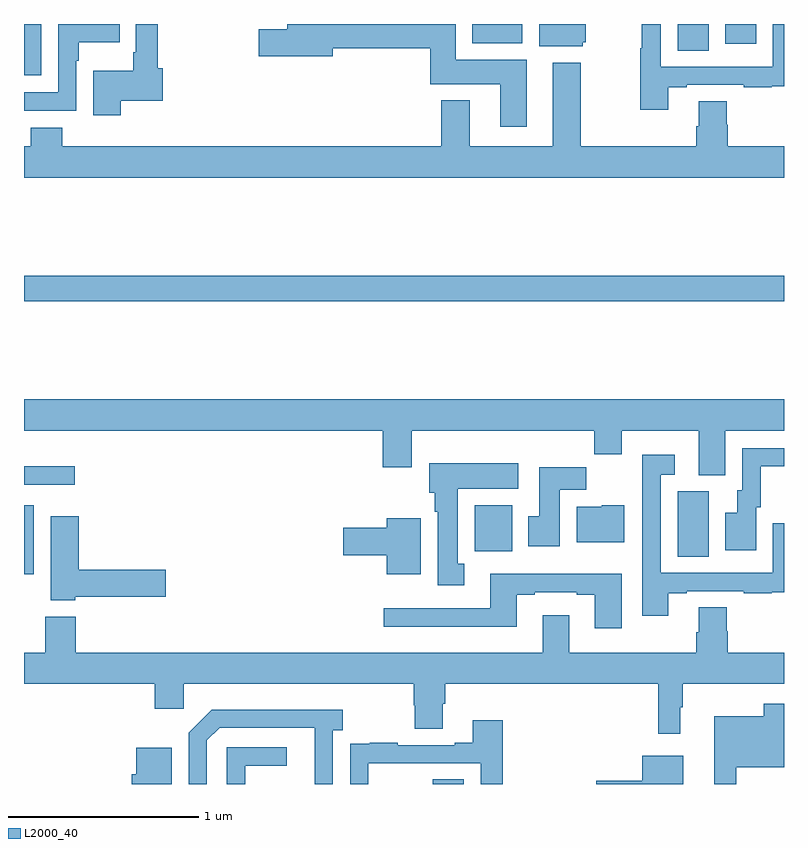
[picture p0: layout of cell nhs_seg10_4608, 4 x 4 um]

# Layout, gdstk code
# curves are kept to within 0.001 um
import gdstk
lib = gdstk.Library(unit=1e-6, precision=1e-09)
def R(c, l, rs):  # rectangles x0, y0, x1, y1
    for r in rs: c.add(gdstk.rectangle(r[:2], r[2:], *l))
def P(c, l, *ps):  # polygons
    for p in ps: c.add(gdstk.Polygon(p, *l))
L2000_40 = (2000, 40)

nhs_seg10_4608 = lib.new_cell('nhs_seg10_4608')
R(nhs_seg10_4608, L2000_40, [(377.15,1254.5,377.314,1254.524), (375,1255.604,375.052,1255.966), (378.44,1255.696,378.604,1256.04), (377.372,1255.724,377.569,1255.966), (375,1256.076,375.268,1256.172), (375,1257.04,379,1257.176), (375,1258.229,375.091,1258.5), (378.44,1258.36,378.604,1258.5), (378.692,1258.395,378.853,1258.5), (377.36,1258.4,377.623,1258.5)])
P(nhs_seg10_4608, L2000_40, [(375.509,1258.097),(375.731,1258.097),(375.731,1258.268),(375.704,1258.268),(375.704,1258.5),(375.588,1258.5),(375.588,1258.351),(375.576,1258.351),(375.576,1258.255),(375.365,1258.255),(375.365,1258.02),(375.509,1258.02)],
  [(375.276,1258.307),(375.289,1258.307),(375.289,1258.403),(375.503,1258.403),(375.503,1258.5),(375.18,1258.5),(375.18,1258.14),(375,1258.14),(375,1258.044),(375.276,1258.044)],
  [(377.94,1258.404),(377.956,1258.404),(377.956,1258.5),(377.711,1258.5),(377.711,1258.382),(377.94,1258.382)],
  [(377.647,1258.312),(377.272,1258.312),(377.272,1258.5),(376.385,1258.5),(376.385,1258.472),(376.236,1258.472),(376.236,1258.33),(376.624,1258.33),(376.624,1258.372),(377.138,1258.372),(377.138,1258.184),(377.507,1258.184),(377.507,1257.96),(377.647,1257.96)],
  [(378.391,1258.167),(378.487,1258.167),(378.487,1258.179),(378.787,1258.179),(378.787,1258.167),(378.935,1258.167),(378.935,1258.173),(379,1258.173),(379,1258.5),(378.942,1258.5),(378.942,1258.275),(378.351,1258.275),(378.351,1258.5),(378.25,1258.5),(378.25,1258.372),(378.243,1258.372),(378.243,1258.05),(378.391,1258.05)],
  [(379,1257.856),(378.704,1257.856),(378.704,1257.969),(378.699,1257.969),(378.699,1258.094),(378.551,1258.094),(378.551,1257.962),(378.539,1257.962),(378.539,1257.856),(377.931,1257.856),(377.931,1258.297),(377.783,1258.297),(377.783,1257.856),(377.347,1257.856),(377.347,1258.099),(377.195,1258.099),(377.195,1257.856),(375.2,1257.856),(375.2,1257.955),(375.035,1257.955),(375.035,1257.856),(375,1257.856),(375,1257.692),(379,1257.692)],
  [(378.691,1256.36),(379,1256.36),(379,1256.524),(375,1256.524),(375,1256.36),(376.889,1256.36),(376.889,1256.166),(377.041,1256.166),(377.041,1256.36),(378.001,1256.36),(378.001,1256.236),(378.145,1256.236),(378.145,1256.36),(378.551,1256.36),(378.551,1256.125),(378.691,1256.125)],
  [(378.853,1255.956),(378.877,1255.956),(378.877,1256.172),(379,1256.172),(379,1256.268),(378.78,1256.268),(378.78,1256.046),(378.755,1256.046),(378.755,1255.927),(378.692,1255.927),(378.692,1255.731),(378.853,1255.731)],
  [(378.391,1255.503),(378.487,1255.503),(378.487,1255.515),(378.787,1255.515),(378.787,1255.503),(378.935,1255.503),(378.935,1255.509),(379,1255.509),(379,1255.873),(378.942,1255.873),(378.942,1255.611),(378.351,1255.611),(378.351,1256.127),(378.424,1256.127),(378.424,1256.233),(378.255,1256.233),(378.255,1255.386),(378.391,1255.386)],
  [(377.317,1255.658),(377.284,1255.658),(377.284,1256.054),(377.602,1256.054),(377.602,1256.188),(377.132,1256.188),(377.132,1256.034),(377.162,1256.034),(377.162,1255.934),(377.177,1255.934),(377.177,1255.545),(377.317,1255.545)],
  [(377.821,1256.048),(377.96,1256.048),(377.96,1256.167),(377.711,1256.167),(377.711,1255.908),(377.654,1255.908),(377.654,1255.752),(377.821,1255.752)],
  [(378.16,1255.966),(378.042,1255.966),(378.042,1255.96),(377.909,1255.96),(377.909,1255.772),(378.16,1255.772)],
  [(375.27,1255.486),(375.745,1255.486),(375.745,1255.628),(375.287,1255.628),(375.287,1255.909),(375.14,1255.909),(375.14,1255.466),(375.27,1255.466)],
  [(377.089,1255.9),(376.91,1255.9),(376.91,1255.85),(376.68,1255.85),(376.68,1255.703),(376.91,1255.703),(376.91,1255.604),(377.089,1255.604)],
  [(378.145,1255.606),(377.453,1255.606),(377.453,1255.425),(376.893,1255.425),(376.893,1255.328),(377.593,1255.328),(377.593,1255.497),(377.689,1255.497),(377.689,1255.509),(377.909,1255.509),(377.909,1255.497),(378.005,1255.497),(378.005,1255.32),(378.145,1255.32)],
  [(378.337,1254.765),(378.454,1254.765),(378.454,1254.905),(378.466,1254.905),(378.466,1255.028),(379,1255.028),(379,1255.192),(378.704,1255.192),(378.704,1255.305),(378.699,1255.305),(378.699,1255.43),(378.551,1255.43),(378.551,1255.298),(378.539,1255.298),(378.539,1255.192),(377.869,1255.192),(377.869,1255.387),(377.729,1255.387),(377.729,1255.192),(375.272,1255.192),(375.272,1255.381),(375.112,1255.381),(375.112,1255.192),(375,1255.192),(375,1255.028),(375.689,1255.028),(375.689,1254.897),(375.84,1254.897),(375.84,1255.028),(377.051,1255.028),(377.051,1254.915),(377.056,1254.915),(377.056,1254.79),(377.203,1254.79),(377.203,1254.922),(377.216,1254.922),(377.216,1255.028),(378.337,1255.028)],
  [(378.749,1254.587),(379,1254.587),(379,1254.922),(378.894,1254.922),(378.894,1254.856),(378.632,1254.856),(378.632,1254.5),(378.749,1254.5)],
  [(375.963,1254.729),(376.029,1254.795),(376.529,1254.795),(376.53,1254.5),(376.626,1254.5),(376.626,1254.782),(376.678,1254.782),(376.678,1254.892),(375.988,1254.892),(375.867,1254.771),(375.867,1254.5),(375.963,1254.5)],
  [(376.812,1254.609),(377.403,1254.609),(377.403,1254.5),(377.519,1254.5),(377.519,1254.835),(377.363,1254.835),(377.363,1254.718),(377.267,1254.718),(377.267,1254.705),(376.967,1254.705),(376.967,1254.718),(376.819,1254.718),(376.819,1254.711),(376.717,1254.711),(376.717,1254.602),(376.716,1254.602),(376.716,1254.5),(376.812,1254.5)],
  [(376.164,1254.597),(376.384,1254.597),(376.384,1254.693),(376.068,1254.693),(376.068,1254.5),(376.164,1254.5)],
  [(375.778,1254.691),(375.59,1254.691),(375.59,1254.552),(375.566,1254.552),(375.566,1254.5),(375.778,1254.5)],
  [(378.469,1254.649),(378.254,1254.649),(378.254,1254.518),(378.012,1254.518),(378.012,1254.5),(378.469,1254.5)])

lib.write_gds('nhs_seg10_4608.gds')
